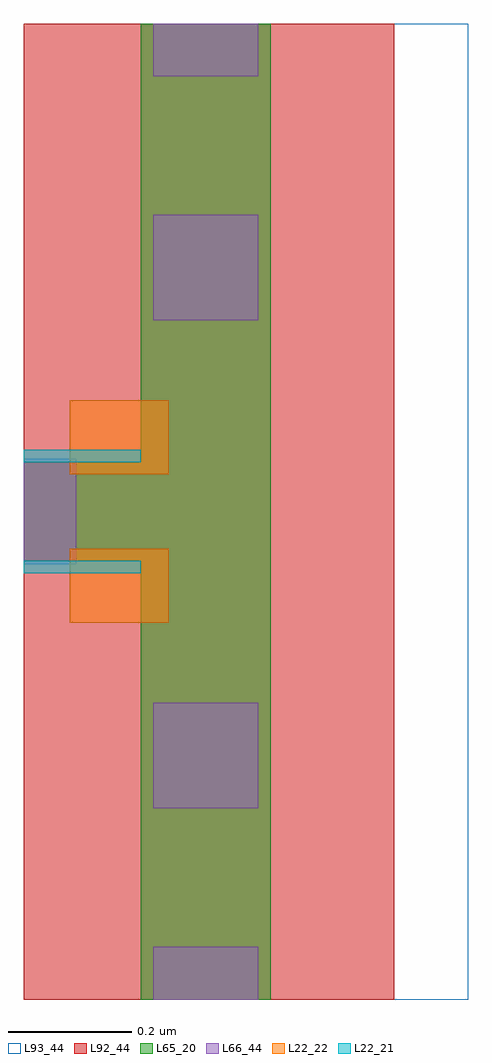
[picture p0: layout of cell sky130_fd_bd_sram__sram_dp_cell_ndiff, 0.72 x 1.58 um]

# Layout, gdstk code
from math import pi, radians
import gdstk
lib = gdstk.Library(unit=1e-6, precision=1e-09)
def R(c, l, rs):  # rectangles x0, y0, x1, y1
    for r in rs: c.add(gdstk.rectangle(r[:2], r[2:], *l))
def P(c, l, *ps):  # polygons
    for p in ps: c.add(gdstk.Polygon(p, *l))
L22_21 = (22, 21)
L22_22 = (22, 22)
L65_20 = (65, 20)
L66_44 = (66, 44)
L92_44 = (92, 44)
L93_44 = (93, 44)

sky130_fd_bd_sram__sram_ = lib.new_cell('sky130_fd_bd_sram__sram_dp_licon_05')
R(sky130_fd_bd_sram__sram_, L66_44, [(-0.085,0,0.085,0.085)])

c_sky130_fd_bd_sram__sram_ = lib.new_cell('sky130_fd_bd_sram__sram_dp_licon_1')
c_sky130_fd_bd_sram__sram_.add(gdstk.Reference(sky130_fd_bd_sram__sram_, (0,0)))
c_sky130_fd_bd_sram__sram_.add(gdstk.Reference(sky130_fd_bd_sram__sram_, (0,0), x_reflection=True))

c_sky130_fd_bd_sram__sram__ = lib.new_cell('sky130_fd_bd_sram__sram_dp_cell_fom_srf_1')
R(c_sky130_fd_bd_sram__sram__, L22_22, [(-0.115,-0.02,0.045,0.1)])

c_sky130_fd_bd_sram__sram___ = lib.new_cell('sky130_fd_bd_sram__sram_dp_cell_ndiff')
R(c_sky130_fd_bd_sram__sram___, L22_21, [(0,0.69,0.19,0.71), (0,0.87,0.19,0.89)])
P(c_sky130_fd_bd_sram__sram___, L65_20, [(0.19,0),(0.19,0.71),(0,0.71),(0,0.87),(0.19,0.87),(0.19,1.58),(0.4,1.58),(0.4,0)])
R(c_sky130_fd_bd_sram__sram___, L92_44, [(0,0,0.6,1.58)])
R(c_sky130_fd_bd_sram__sram___, L93_44, [(0,0,0.72,1.58)])
c_sky130_fd_bd_sram__sram___.add(gdstk.Reference(sky130_fd_bd_sram__sram_, (0.295,1.58), rotation=pi))
c_sky130_fd_bd_sram__sram___.add(gdstk.Reference(sky130_fd_bd_sram__sram_, (0,0.79), rotation=3*pi/2))
c_sky130_fd_bd_sram__sram___.add(gdstk.Reference(sky130_fd_bd_sram__sram_, (0.295,0)))
c_sky130_fd_bd_sram__sram___.add(gdstk.Reference(c_sky130_fd_bd_sram__sram_, (0.295,1.185)))
c_sky130_fd_bd_sram__sram___.add(gdstk.Reference(c_sky130_fd_bd_sram__sram_, (0.295,0.395)))
c_sky130_fd_bd_sram__sram___.add(gdstk.Reference(c_sky130_fd_bd_sram__sram__, (0.19,0.87)))
c_sky130_fd_bd_sram__sram___.add(gdstk.Reference(c_sky130_fd_bd_sram__sram__, (0.19,0.71), x_reflection=True))

lib.write_gds('sky130_fd_bd_sram__sram_dp_cell_ndiff.gds')
